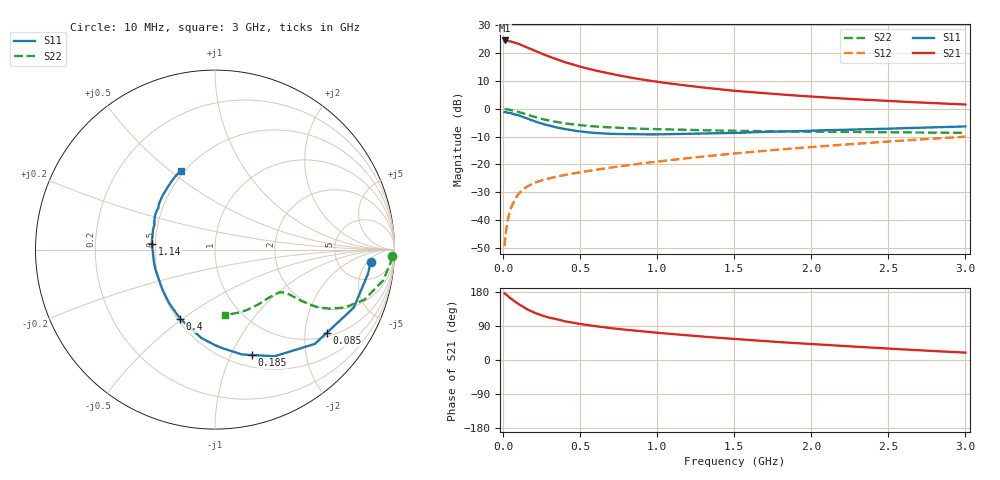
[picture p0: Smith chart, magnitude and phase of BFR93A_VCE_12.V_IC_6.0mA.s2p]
! Infineon Technologies  Discrete & RF Semiconductors
! BFR93A
! VCE =  12. V,  IC =  6.0 mA
! Common Emitter S-Parameters:  Nov 2015
# GHz  S  MA  R  50
!  f  S11  S21  S12  S22
! GHz  MAG  ANG  MAG  ANG  MAG  ANG  MAG  ANG
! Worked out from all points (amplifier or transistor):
!   180 points, 10 MHz to 3 GHz, reference 50 ohm
!   highest |S21| = 24.5 dB at 10 MHz (marker M1)
!   |S21| within 3 dB of that: start of sweep to 176.9 MHz
!   unconditionally stable (mu >= 1): 741 MHz to 2.547 GHz
!   at 160 MHz: K = 0.37, MSG = 24.9 dB, |S12| = -27.9 dB
!   at 1.22 GHz: K = 1.10, MAG = 10.9 dB, |S12| = -17.6 dB
!   at 3 GHz: K = 0.94, MSG = 5.8 dB, |S12| = -10.0 dB
!   S11 on the Smith chart (normalised r, x): 10 MHz: 11, -6; 85 MHz: 1.11, -2.59; 185 MHz: 0.63, -1.20; 400 MHz: 0.52, -0.49; 1.14 GHz: 0.48, +0.03; 3 GHz: 0.48, +0.55
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0.01  0.8702 -4.6  16.78 175.9  0.0034 83.4  0.9856 -2.2
0.025  0.8553 -11.3  16.54 170.7  0.0082 80.9  0.9757 -5.2
0.05  0.8381 -22.7  16.13 162.1  0.016 77.3  0.9533 -10.3
0.085  0.7759 -36.8  14.97 152.1  0.0254 70.2  0.8989 -15.9
0.1  0.7651 -43.4  14.63 147.4  0.0295 68.6  0.8784 -18.5
0.15  0.6806 -60.8  12.8 134.9  0.0391 61.6  0.7914 -24.1
0.185  0.6217 -70.8  11.62 128.5  0.044 58.6  0.739 -26.3
0.2  0.603 -75.6  11.17 125.4  0.0461 57.5  0.7169 -27.3
0.24  0.5516 -85.5  10.02 119.3  0.0506 55.5  0.668 -28.9
0.26  0.5315 -90.2  9.515 116.5  0.0526 54.8  0.6465 -29.5
0.3  0.4982 -98.8  8.596 111.7  0.0562 53.9  0.6093 -30.2
0.4  0.4314 -116.8  6.853 102.1  0.0645 53.4  0.5442 -30.8
0.52  0.3848 -133.8  5.509 93.9  0.0736 54.3  0.4995 -31.0
0.6  0.3668 -143.4  4.839 89.1  0.0796 55.2  0.478 -31.1
0.7  0.3537 -153.2  4.208 84.1  0.0878 56.3  0.46 -31.6
0.9  0.3469 -169.9  3.338 75.8  0.104 58.1  0.4354 -33.1
1.02  0.3463 -177.6  2.982 71.2  0.114 58.8  0.4271 -34.5
1.14  0.3519 175.2  2.703 67.1  0.1247 59.3  0.4187 -36.2
1.52  0.3668 157.0  2.073 55.0  0.1587 59.8  0.4 -42.6
2.02  0.4052 139.9  1.636 41.5  0.2068 58.5  0.3868 -53.5
2.52  0.4395 126.0  1.366 29.8  0.2594 55.7  0.3775 -66.2
3  0.4798 113.5  1.189 19.5  0.3145 51.9  0.3685 -81.0
